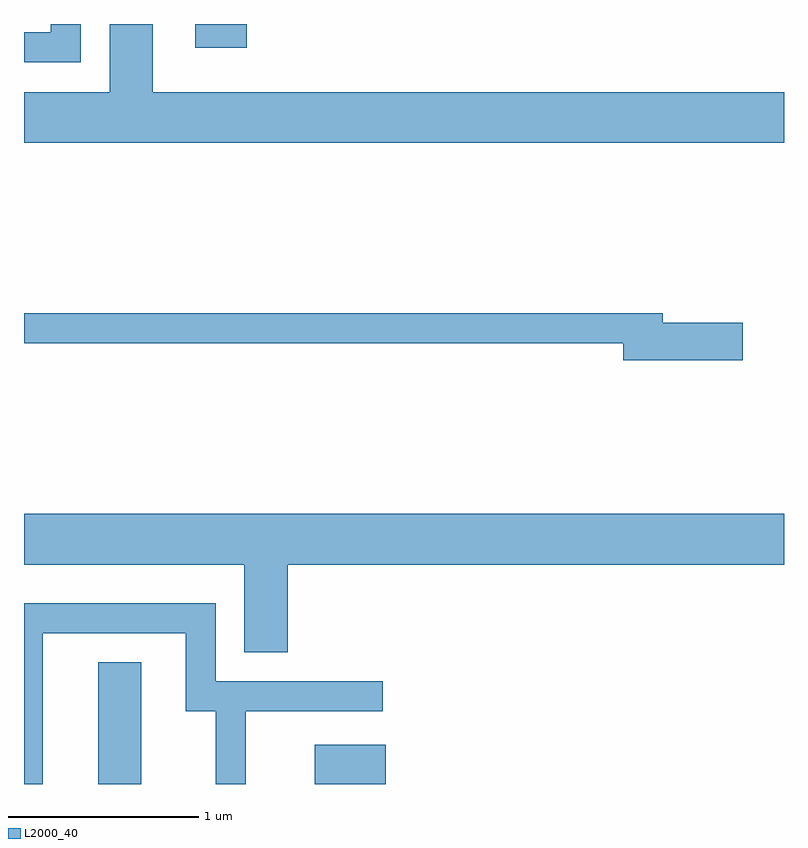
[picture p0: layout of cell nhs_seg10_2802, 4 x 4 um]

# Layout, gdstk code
import gdstk
lib = gdstk.Library(unit=1e-6, precision=1e-09)
def R(c, l, rs):  # rectangles x0, y0, x1, y1
    for r in rs: c.add(gdstk.rectangle(r[:2], r[2:], *l))
def P(c, l, *ps):  # polygons
    for p in ps: c.add(gdstk.Polygon(p, *l))
L2000_40 = (2000, 40)

nhs_seg10_2802 = lib.new_cell('nhs_seg10_2802')
R(nhs_seg10_2802, L2000_40, [(268.001,2130.522,268.229,2131.164), (269.141,2130.522,269.514,2130.729), (268.513,2134.396,268.784,2134.522)])
P(nhs_seg10_2802, L2000_40, [(271.611,2134.164),(268.289,2134.164),(268.289,2134.522),(268.061,2134.522),(268.061,2134.164),(267.611,2134.164),(267.611,2133.896),(271.611,2133.896)],
  [(267.909,2134.522),(267.751,2134.522),(267.751,2134.479),(267.611,2134.479),(267.611,2134.321),(267.909,2134.321)],
  [(271.394,2132.949),(270.974,2132.949),(270.974,2132.999),(267.611,2132.999),(267.611,2132.841),(270.766,2132.841),(270.766,2132.751),(271.394,2132.751)],
  [(268.999,2131.676),(271.611,2131.676),(271.611,2131.944),(267.611,2131.944),(267.611,2131.676),(268.771,2131.676),(268.771,2131.216),(268.999,2131.216)],
  [(267.709,2131.316),(268.461,2131.316),(268.461,2130.906),(268.621,2130.906),(268.621,2130.522),(268.779,2130.522),(268.779,2130.906),(269.498,2130.906),(269.498,2131.064),(268.619,2131.064),(268.619,2131.474),(267.611,2131.474),(267.611,2130.522),(267.709,2130.522)])

lib.write_gds('nhs_seg10_2802.gds')
